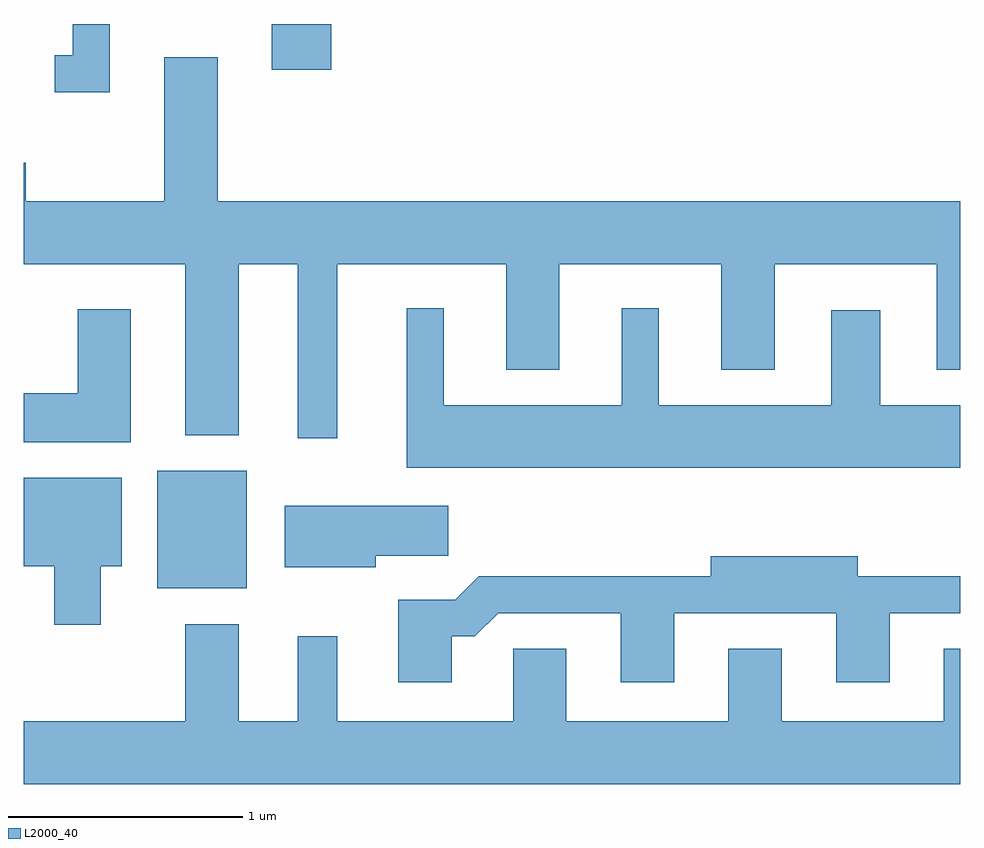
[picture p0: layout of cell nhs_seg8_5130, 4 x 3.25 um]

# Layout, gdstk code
import gdstk
lib = gdstk.Library(unit=1e-6, precision=1e-09)
def R(c, l, rs):  # rectangles x0, y0, x1, y1
    for r in rs: c.add(gdstk.rectangle(r[:2], r[2:], *l))
def P(c, l, *ps):  # polygons
    for p in ps: c.add(gdstk.Polygon(p, *l))
L2000_40 = (2000, 40)

nhs_seg8_5130 = lib.new_cell('nhs_seg8_5130')
R(nhs_seg8_5130, L2000_40, [(340.181,1823.931,340.564,1824.434), (340.671,1826.146,340.924,1826.342)])
P(nhs_seg8_5130, L2000_40, [(339.979,1826.342),(339.821,1826.342),(339.821,1826.209),(339.743,1826.209),(339.743,1826.051),(339.979,1826.051)],
  [(340.439,1826.199),(340.211,1826.199),(340.211,1825.584),(339.619,1825.584),(339.619,1825.749),(339.611,1825.749),(339.611,1825.316),(340.301,1825.316),(340.301,1824.586),(340.529,1824.586),(340.529,1825.316),(340.781,1825.316),(340.781,1824.573),(340.949,1824.573),(340.949,1825.316),(341.671,1825.316),(341.671,1824.866),(341.899,1824.866),(341.899,1825.316),(342.591,1825.316),(342.591,1824.866),(342.819,1824.866),(342.819,1825.316),(343.511,1825.316),(343.511,1824.866),(343.611,1824.866),(343.611,1825.584),(340.439,1825.584)],
  [(343.611,1824.714),(343.269,1824.714),(343.269,1825.119),(343.061,1825.119),(343.061,1824.714),(342.324,1824.714),(342.324,1825.128),(342.166,1825.128),(342.166,1824.714),(341.404,1824.714),(341.404,1825.128),(341.246,1825.128),(341.246,1824.446),(343.611,1824.446)],
  [(340.069,1825.124),(339.841,1825.124),(339.841,1824.764),(339.611,1824.764),(339.611,1824.556),(340.069,1824.556)],
  [(339.939,1824.026),(340.029,1824.026),(340.029,1824.404),(339.611,1824.404),(339.611,1824.026),(339.741,1824.026),(339.741,1823.776),(339.939,1823.776)],
  [(341.114,1824.071),(341.424,1824.071),(341.424,1824.284),(340.726,1824.284),(340.726,1824.021),(341.114,1824.021)],
  [(341.439,1823.726),(341.537,1823.726),(341.637,1823.826),(342.161,1823.826),(342.161,1823.531),(342.389,1823.531),(342.389,1823.826),(343.081,1823.826),(343.081,1823.531),(343.309,1823.531),(343.309,1823.826),(343.611,1823.826),(343.611,1823.984),(343.174,1823.984),(343.174,1824.069),(342.546,1824.069),(342.546,1823.984),(341.554,1823.984),(341.454,1823.884),(341.211,1823.884),(341.211,1823.531),(341.439,1823.531)],
  [(343.611,1823.674),(343.541,1823.674),(343.541,1823.364),(342.849,1823.364),(342.849,1823.674),(342.621,1823.674),(342.621,1823.364),(341.929,1823.364),(341.929,1823.674),(341.701,1823.674),(341.701,1823.364),(340.949,1823.364),(340.949,1823.728),(340.781,1823.728),(340.781,1823.364),(340.529,1823.364),(340.529,1823.779),(340.301,1823.779),(340.301,1823.364),(339.611,1823.364),(339.611,1823.096),(343.611,1823.096)])

lib.write_gds('nhs_seg8_5130.gds')
